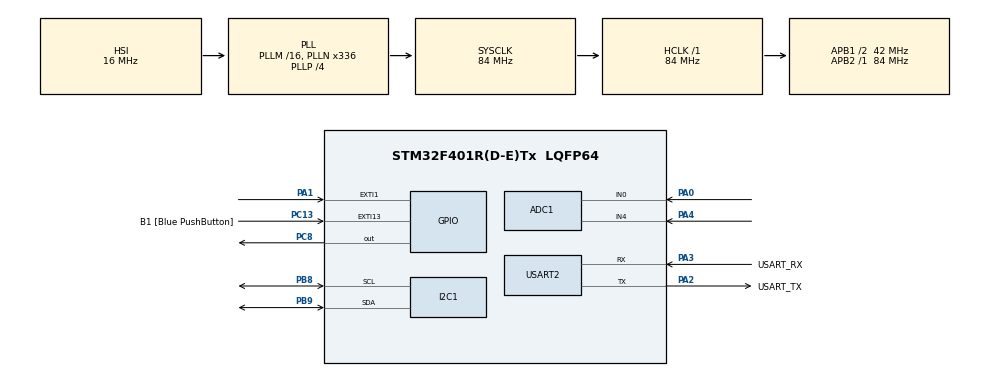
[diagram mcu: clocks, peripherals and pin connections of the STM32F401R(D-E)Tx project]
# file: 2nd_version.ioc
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ADC1.Channel-0\#ChannelRegularConversion=ADC_CHANNEL_0
ADC1.Channel-1\#ChannelRegularConversion=ADC_CHANNEL_4
ADC1.ContinuousConvMode=DISABLE
ADC1.DMAContinuousRequests=ENABLE
ADC1.ExternalTrigConv=ADC_EXTERNALTRIGCONV_T3_TRGO
ADC1.NbrOfConversion=2
ADC1.NbrOfConversionFlag=1
ADC1.Rank-0\#ChannelRegularConversion=1
ADC1.Rank-1\#ChannelRegularConversion=2
ADC1.SamplingTime-0\#ChannelRegularConversion=ADC_SAMPLETIME_480CYCLES
ADC1.SamplingTime-1\#ChannelRegularConversion=ADC_SAMPLETIME_144CYCLES
ADC1.ScanConvMode=ENABLE
ADC1.master=1
Dma.ADC1.0.Direction=DMA_PERIPH_TO_MEMORY
Dma.ADC1.0.FIFOMode=DMA_FIFOMODE_DISABLE
Dma.ADC1.0.Instance=DMA2_Stream0
Dma.ADC1.0.MemDataAlignment=DMA_MDATAALIGN_HALFWORD
Dma.ADC1.0.MemInc=DMA_MINC_ENABLE
Dma.ADC1.0.Mode=DMA_CIRCULAR
Dma.ADC1.0.PeriphDataAlignment=DMA_PDATAALIGN_HALFWORD
Dma.ADC1.0.PeriphInc=DMA_PINC_DISABLE
Dma.ADC1.0.Priority=DMA_PRIORITY_HIGH
Dma.Request0=ADC1
Mcu.Family=STM32F4
Mcu.Name=STM32F401R(D-E)Tx
Mcu.Package=LQFP64
NVIC.DMA2_Stream0_IRQn=true\:0\:0\:false\:false\:true\:false\:true\:true
NVIC.EXTI15_10_IRQn=true\:0\:0\:false\:false\:true\:true\:true\:true
NVIC.EXTI1_IRQn=true\:0\:0\:false\:false\:true\:true\:true\:true
NVIC.PriorityGroup=NVIC_PRIORITYGROUP_4
NVIC.TIM4_IRQn=true\:0\:0\:false\:false\:true\:true\:true\:true
NVIC.USART2_IRQn=true\:0\:0\:false\:false\:true\:true\:true\:true
PA0-WKUP.Signal=ADCx_IN0
PA1.GPIO_PuPd=GPIO_PULLUP
PA1.Signal=GPXTI1
PA13.GPIO_Label=TMS
PA13.Mode=Trace_Asynchronous_SW
PA13.Signal=SYS_JTMS-SWDIO
PA14.GPIO_Label=TCK
PA14.Mode=Trace_Asynchronous_SW
PA14.Signal=SYS_JTCK-SWCLK
PA2.GPIO_Label=USART_TX
PA2.GPIO_Mode=GPIO_MODE_AF_PP
PA2.GPIO_PuPd=GPIO_NOPULL
PA2.GPIO_Speed=GPIO_SPEED_FREQ_LOW
PA2.Mode=Asynchronous
PA2.Signal=USART2_TX
PA3.GPIO_Label=USART_RX
PA3.GPIO_Mode=GPIO_MODE_AF_PP
PA3.GPIO_PuPd=GPIO_NOPULL
PA3.GPIO_Speed=GPIO_SPEED_FREQ_LOW
PA3.Mode=Asynchronous
PA3.Signal=USART2_RX
PA4.Signal=ADCx_IN4
PB3.GPIO_Label=SWO
PB3.Mode=Trace_Asynchronous_SW
PB3.Signal=SYS_JTDO-SWO
PB8.Mode=I2C
PB8.Signal=I2C1_SCL
PB9.Mode=I2C
PB9.Signal=I2C1_SDA
PC13-ANTI_TAMP.GPIO_Label=B1 [Blue PushButton]
PC13-ANTI_TAMP.GPIO_ModeDefaultEXTI=GPIO_MODE_IT_FALLING
PC13-ANTI_TAMP.GPIO_PuPd=GPIO_NOPULL
PC13-ANTI_TAMP.Signal=GPXTI13
PC14-OSC32_IN.Signal=RCC_OSC32_IN
PC15-OSC32_OUT.Signal=RCC_OSC32_OUT
PC8.GPIO_ModeDefaultOutputPP=GPIO_MODE_OUTPUT_OD
PC8.GPIO_PuPd=GPIO_NOPULL
PC8.Signal=GPIO_Output
PH0\ -\ OSC_IN.Mode=HSE-External-Oscillator
PH0\ -\ OSC_IN.Signal=RCC_OSC_IN
PH1\ -\ OSC_OUT.Mode=HSE-External-Oscillator
PH1\ -\ OSC_OUT.Signal=RCC_OSC_OUT
ProjectManager.HeapSize=0x800
ProjectManager.StackSize=0x800
ProjectManager.TargetToolchain=STM32CubeIDE
RCC.48MHZClocksFreq_Value=48000000
RCC.AHBFreq_Value=84000000
RCC.APB1CLKDivider=RCC_HCLK_DIV2
RCC.APB1Freq_Value=42000000
RCC.APB1TimFreq_Value=84000000
RCC.APB2Freq_Value=84000000
RCC.APB2TimFreq_Value=84000000
RCC.CortexFreq_Value=84000000
RCC.HCLKFreq_Value=84000000
RCC.HSE_VALUE=8000000
RCC.HSI_VALUE=16000000
RCC.LSE_VALUE=32768
RCC.PLLN=336
RCC.PLLP=RCC_PLLP_DIV4
RCC.PLLQ=7
RCC.SYSCLKFreq_VALUE=84000000
RCC.SYSCLKSource=RCC_SYSCLKSOURCE_PLLCLK
RCC.VCOOutputFreq_Value=336000000
SH.ADCx_IN0.0=ADC1_IN0,IN0
SH.ADCx_IN4.0=ADC1_IN4,IN4
STMicroelectronics.X-CUBE-AI.10.2.0.ActivationBufferSizeList=3460
STMicroelectronics.X-CUBE-AI.10.2.0.ActivationBuffers=pool0
STMicroelectronics.X-CUBE-AI.10.2.0.ActivationNames=pool0
STMicroelectronics.X-CUBE-AI.10.2.0.ActivationSizes=AI_AE_MODEL_DATA_ACTIVATION_1_SIZE
STMicroelectronics.X-CUBE-AI.10.2.0.HeapSize=0x800
STMicroelectronics.X-CUBE-AI.10.2.0.InternalRamActivationBufferMaxSize=AI_AE_MODEL_DATA_ACTIVATIONS_SIZE
STMicroelectronics.X-CUBE-AI.10.2.0.LatestDirectoryUsed-c8a57d9024149522af5069ce5f239dbd9c43b9ed8e909609a64f126b012826c5=C\:\\Users\\YASHASVI\\OneDrive\\Desktop\\train_autoencoder\\models
STMicroelectronics.X-CUBE-AI.10.2.0.MaximumNumberOfInputLayer=1
STMicroelectronics.X-CUBE-AI.10.2.0.MaximumNumberOfOutputLayer=1
STMicroelectronics.X-CUBE-AI.10.2.0.MaximumSizeOfInputLayer=1
STMicroelectronics.X-CUBE-AI.10.2.0.MaximumSizeOfOutputLayer=1
STMicroelectronics.X-CUBE-AI.10.2.0.ModelActualCompression-c8a57d9024149522af5069ce5f239dbd9c43b9ed8e909609a64f126b012826c5=0.0
STMicroelectronics.X-CUBE-AI.10.2.0.ModelCompression-c8a57d9024149522af5069ce5f239dbd9c43b9ed8e909609a64f126b012826c5=None
STMicroelectronics.X-CUBE-AI.10.2.0.ModelFlashOccupation-c8a57d9024149522af5069ce5f239dbd9c43b9ed8e909609a64f126b012826c5=17893
STMicroelectronics.X-CUBE-AI.10.2.0.ModelHashList=c8a57d9024149522af5069ce5f239dbd9c43b9ed8e909609a64f126b012826c5
STMicroelectronics.X-CUBE-AI.10.2.0.ModelKind-c8a57d9024149522af5069ce5f239dbd9c43b9ed8e909609a64f126b012826c5=TFLITE
STMicroelectronics.X-CUBE-AI.10.2.0.ModelMacc-c8a57d9024149522af5069ce5f239dbd9c43b9ed8e909609a64f126b012826c5=890
STMicroelectronics.X-CUBE-AI.10.2.0.ModelName-c8a57d9024149522af5069ce5f239dbd9c43b9ed8e909609a64f126b012826c5=ae_model
STMicroelectronics.X-CUBE-AI.10.2.0.ModelNameList=ae_model
STMicroelectronics.X-CUBE-AI.10.2.0.ModelRamOccupation-c8a57d9024149522af5069ce5f239dbd9c43b9ed8e909609a64f126b012826c5=3460
STMicroelectronics.X-CUBE-AI.10.2.0.ModelStructureFile-c8a57d9024149522af5069ce5f239dbd9c43b9ed8e909609a64f126b012826c5=C\:\\Users\\YASHASVI\\OneDrive\\Desktop\\train_autoencoder\\models\\ae_model.tflite
STMicroelectronics.X-CUBE-AI.10.2.0.ModelType-c8a57d9024149522af5069ce5f239dbd9c43b9ed8e909609a64f126b012826c5=STM32Cube.AI MCU runtime
STMicroelectronics.X-CUBE-AI.10.2.0.ReadyForCodeGeneration=true
STMicroelectronics.X-CUBE-AI.10.2.0.StackSize=0x800
STMicroelectronics.X-CUBE-AI.10.2.0.WorkingBufferStartAddrList=0xFFFFFFFF
STMicroelectronics.X-CUBE-AI.10.2.0.XAaCUBEAaAICcArtificialOoIntelligenceJjCore=true
STMicroelectronics.X-CUBE-AI.10.2.0.copyWeightToRam-c8a57d9024149522af5069ce5f239dbd9c43b9ed8e909609a64f126b012826c5=false
STMicroelectronics.X-CUBE-AI.10.2.0.customLayerConfigEnabled-c8a57d9024149522af5069ce5f239dbd9c43b9ed8e909609a64f126b012826c5=false
STMicroelectronics.X-CUBE-AI.10.2.0.noOnnxIoTranspose-c8a57d9024149522af5069ce5f239dbd9c43b9ed8e909609a64f126b012826c5=false
STMicroelectronics.X-CUBE-AI.10.2.0.useInputAllocation-c8a57d9024149522af5069ce5f239dbd9c43b9ed8e909609a64f126b012826c5=true
STMicroelectronics.X-CUBE-AI.10.2.0.useOutputAllocation-c8a57d9024149522af5069ce5f239dbd9c43b9ed8e909609a64f126b012826c5=true
TIM2.Prescaler=83
TIM3.Period=249
TIM3.Prescaler=83
TIM3.TIM_MasterOutputTrigger=TIM_TRGO_UPDATE
TIM4.Period=1000
TIM4.Prescaler=72-1
USART2.VirtualMode=VM_ASYNC
VP_CRC_VS_CRC.Mode=CRC_Activate
VP_STMicroelectronics.X-CUBE-AI_VS_ArtificialOoIntelligenceJjXAaCUBEAaAI_10.2.0.Mode=ArtificialOoIntelligenceJjXAaCUBEAaAI
VP_TIM2_VS_ClockSourceINT.Mode=Internal
VP_TIM3_VS_ClockSourceINT.Mode=Internal
VP_TIM4_VS_ClockSourceINT.Mode=Internal
board=NUCLEO-F401RE

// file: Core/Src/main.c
/* USER CODE BEGIN Header */
/**
  ******************************************************************************
  * @file           : main.c
  * @brief          : Main program body
  ******************************************************************************
  */
/* USER CODE END Header */
#include "main.h"
#include "adc.h"
#include "crc.h"
#include "dma.h"
#include "i2c.h"
#include "tim.h"
#include "usart.h"
#include "gpio.h"

/* USER CODE BEGIN Includes */
#include "ADXL345.h"
#include <stdio.h>
#include <math.h>
#include "ds18b20.h"
#include <string.h>
#include "arm_math.h"
#ifdef AI_MODEL_DEPLOYED
#include "ae_model.h"
#include "ai_platform.h"
#include "ae_model_data.h"
#endif

/* USER CODE END Includes */

/* USER CODE BEGIN PD */
#define SAMPLES         2048
#define RATED_RPM       1500
#define PULSES_PER_REV  1
#define MAX_RPM         3000
#define RPM_STOP_TIMEOUT_US 3000000
#define MIN_PULSE_US    (60000000 / (MAX_RPM * PULSES_PER_REV))
#define VIB_WINDOW      128
#define WARMUP_WINDOWS  6
#define ACS_SENSITIVITY 0.185f
#define KNOWN_CURRENT   0.444f
#define FFT_SIZE        VIB_WINDOW
/* ========= MACHINE CONFIGURATION ========= */

/* USER CODE END PD */

/* USER CODE BEGIN PV */
/* CMSIS FFT Buffers */
arm_rfft_fast_instance_f32 fft_handler;
float fft_input[FFT_SIZE];
float fft_output[FFT_SIZE];
/* ADC / Voltage / Current */
uint16_t adcBuffer[SAMPLES];
float calibrationFactor = 1.0f;
volatile uint8_t streamEnable = 0;
volatile uint8_t adcHalfReady = 0;
volatile uint8_t adcFullReady = 0;
float realVoltage = 0;
float current = 0;
float baseline_A = 0.0f;
float scaleFactor = 1.0f;
uint16_t dbg_max = 0, dbg_min = 0, dbg_peak = 0;
volatile uint8_t uartPrintReady = 0;
typedef enum {
    MODE_STREAM = 0,
    MODE_AI,
    MODE_CALIBRATE
} SystemMode_t;

volatile SystemMode_t currentMode = MODE_STREAM;
uint8_t rxByte;
/* Accelerometer */
float ax, ay, az;
uint8_t current_range = 0x01;

/* Temperature */
ds18b20_t ds18;
float temperature = 0.0f;

/* RPM */
volatile float rpm = 0.0f;
volatile uint32_t lastPulseUs = 0;

/* Vibration buffers */
float axBuffer[VIB_WINDOW];
float ayBuffer[VIB_WINDOW];
float azBuffer[VIB_WINDOW];
uint8_t magIndex = 0;
uint8_t magBufferReady = 0;
float prevTemp = 0.0f;
uint8_t prevTempValid = 0;
uint8_t warmupCount = 0;

/* Feature struct */

	typedef struct {

	    /* Time domain */
	    float vib_rms;
	    float vib_peak;
	    float vib_crest;
	    float vib_mean;
	    float vib_variance;
	    float vib_kurtosis;

	    /* Frequency domain */
	    float dominant_freq;
	    float harmonic_score;
	    float peak_count;

	    /* Sensors */
	    float temperature;
	    float temp_rise;
	    float voltage;
	    float current;
	    float rpm;

	    /* Fusion */
	    float vib_power_corr;

	} FeaturePacket_t;

FeaturePacket_t features = {0};

/* USER CODE END PV */

void SystemClock_Config(void);
/* USER CODE BEGIN PFP */
void runCalibration(void);
void computeFFT(float *input, int N)
{
    for (int i = 0; i < N; i++)
        fft_input[i] = input[i];
    arm_rfft_fast_f32(&fft_handler, fft_input, fft_output, 0);
}
void sendToESP32(FeaturePacket_t *f,
                 float mse, float health, float confidence,
                 float anomaly_score,
                 float trend, float RUL,
                 int fault, int bearing, int thermal, int electrical, int mech);
void calibrateVoltage(float knownVoltage);
float readCurrentRMS(void);
void extractVibrationFeatures(float *xb, float *yb, float *zb, int N, FeaturePacket_t *f);
void sendFeaturePacket(FeaturePacket_t *f);
#ifdef AI_MODEL_DEPLOYED
void runInference(FeaturePacket_t *f);
#endif
/* USER CODE END PFP */

/* USER CODE BEGIN 0 */

/* DMA callbacks */
void HAL_ADC_ConvHalfCpltCallback(ADC_HandleTypeDef* hadc)
{
    if(hadc->Instance == ADC1) adcHalfReady = 1;
}
void HAL_ADC_ConvCpltCallback(ADC_HandleTypeDef* hadc)
{
    if(hadc->Instance == ADC1) adcFullReady = 1;
}

/* Process ADC samples — voltage (even index) + current (odd index) */
void processSamples(uint16_t *buffer, int length)
{
    /* --- Voltage --- */
    float mean = 0; float sum = 0; int samples = 0;
    for(int i = 0; i < length; i += 2) {
        if(buffer[i] < 100 || buffer[i] > 4000) continue;
        float v = (buffer[i] * 3.3f) / 4095.0f;
        mean += v; samples++;
    }
    mean /= samples;
    for(int i = 0; i < length; i += 2) {
        float v = (buffer[i] * 3.3f) / 4095.0f;
        float c = v - mean; sum += c * c;
    }
    realVoltage = sqrtf(sum / samples) * calibrationFactor;
    dbg_max = 0; dbg_min = 4095;
    for(int i = 0; i < length; i += 2) {
        if(buffer[i] > dbg_max) dbg_max = buffer[i];
        if(buffer[i] < dbg_min) dbg_min = buffer[i];
    }
    dbg_peak = (dbg_max - dbg_min) / 2;
    uartPrintReady = 1;

    /* --- Current --- */
    float cMean = 0; float cSum = 0; int cSamples = 0;
    for(int i = 1; i < length; i += 2) {
        float v = buffer[i] * 0.000805f; cMean += v; cSamples++;
    }
    cMean /= cSamples;
    for(int i = 1; i < length; i += 2) {
        float v = buffer[i] * 0.000805f;
        float c = v - cMean; cSum += c * c;
    }
    float rawCurrent = sqrtf(cSum / cSamples) / ACS_SENSITIVITY;
    current = (rawCurrent - baseline_A) * scaleFactor;
}

void calibrateVoltage(float knownVoltage)
{
    float sum = 0, mean = 0; int samples = 0;
    for(int i = 0; i < SAMPLES; i += 2) {
        float v = (adcBuffer[i] * 3.3f) / 4095.0f;
        mean += v; samples++;
    }
    mean /= samples;
    for(int i = 0; i < SAMPLES; i += 2) {
        float v = (adcBuffer[i] * 3.3f) / 4095.0f;
        float c = v - mean; sum += c * c;
    }
    calibrationFactor = knownVoltage / sqrtf(sum / samples);
}

float readCurrentRMS(void)
{
    float mean = 0, sum = 0; int samples = 0;
    for(int i = 1; i < SAMPLES; i += 2) {
        float v = (adcBuffer[i] * 3.3f) / 4095.0f;
        mean += v; samples++;
    }
    mean /= samples;
    for(int i = 1; i < SAMPLES; i += 2) {
        float v = (adcBuffer[i] * 3.3f) / 4095.0f;
        float c = v - mean; sum += c * c;
    }
    return sqrtf(sum / samples) / ACS_SENSITIVITY;
}

int _write(int file, char *ptr, int len)
{
    HAL_UART_Transmit(&huart2, (uint8_t*)ptr, len, 1000);
    return len;
}

void OW_TimerCallback(TIM_HandleTypeDef *htim)
{
    if(htim->Instance == TIM4) ow_callback(&ds18.ow);
}

/* Vibration feature extraction */
void extractVibrationFeatures(float *xb, float *yb, float *zb, int N, FeaturePacket_t *f)
{
	float magArr[VIB_WINDOW];
	float magRaw[VIB_WINDOW];
	float magMean = 0.0f;
	for(int i = 0; i < N; i++) {
	    magArr[i] = sqrtf(xb[i]*xb[i] + yb[i]*yb[i] + zb[i]*zb[i]);
	    magRaw[i] = magArr[i];   // save raw before any modification
	    magMean += magArr[i];
	}
    magMean /= N;
    f->vib_mean = magMean;

    float sumSq = 0.0f;
    for(int i = 0; i < N; i++) sumSq += magArr[i] * magArr[i];
    f->vib_rms = sqrtf(sumSq / N);

    float peak = 0.0f;
    for(int i = 0; i < N; i++) if(magArr[i] > peak) peak = magArr[i];
    f->vib_peak = peak;

    f->vib_crest = (f->vib_rms > 0.0f) ? (f->vib_peak / f->vib_rms) : 0.0f;

    float variance = 0.0f;
    for(int i = 0; i < N; i++) { float d = magArr[i]-magMean; variance += d*d; }
    f->vib_variance = variance / (N - 1);

    /* Kurtosis — gravity removed */
    float xMean=0, yMean=0, zMean=0;
    for(int i=0;i<N;i++){xMean+=xb[i];yMean+=yb[i];zMean+=zb[i];}
    xMean/=N; yMean/=N; zMean/=N;

    float acMag[VIB_WINDOW]; float acMean=0.0f;
    for(int i=0;i<N;i++){
        float dx=xb[i]-xMean, dy=yb[i]-yMean, dz=zb[i]-zMean;
        acMag[i]=sqrtf(dx*dx+dy*dy+dz*dz); acMean+=acMag[i];
    }
    acMean/=N;

    float acVar=0.0f;
    for(int i=0;i<N;i++){float d=acMag[i]-acMean; acVar+=d*d;}
    acVar/=(N-1);

    float sigma4=acVar*acVar; float kurt=0.0f;
    if(sigma4>1e-10f){
        for(int i=0;i<N;i++){float d=acMag[i]-acMean; kurt+=d*d*d*d;}
        kurt/=(N*sigma4);
    }
    f->vib_kurtosis = kurt;
    /* ===== FFT ===== */
    /* Remove DC component */
    for(int i=0;i<N;i++)
    {
        magArr[i] -= f->vib_mean;
    }
    /* Hanning window */
    for(int i=0;i<N;i++)
    {
        float w = 0.5f * (1.0f - cosf(2 * 3.14159f * i / (N-1)));
        magArr[i] *= w;
    }
    computeFFT(magArr, N);

    /* ===== Dominant Frequency ===== */
    float maxMag = 0;
    int maxIndex = 0;
    float noise_floor = f->vib_rms * 0.1f;
    for(int i = 1; i < N/2; i++)
    {
        float real = fft_output[2*i];
        float imag = fft_output[2*i + 1];
        float mag = sqrtf(real*real + imag*imag);

        if(mag > maxMag && mag > noise_floor)
        {
            maxMag = mag;
            maxIndex = i;
        }
    }

    float Fs = 250.0f;
    f->dominant_freq = (maxIndex * Fs) / N;

    /* ===== Peak Count (IMPROVED) ===== */
    int peak_count = 0;

    /* Adaptive threshold (more stable than variance-based) */
    float threshold = f->vib_rms * 1.2f;
    for(int i = 1; i < N-1; i++)
    {
        if(magRaw[i] > magRaw[i-1] &&
           magRaw[i] > magRaw[i+1] &&
           magRaw[i] > threshold)
        {
            peak_count++;
        }
    }

    f->peak_count = peak_count;

    /* ===== Harmonic Score (SAFE & STABLE VERSION) ===== */
    float baseFreq = f->dominant_freq;
    float harmonicEnergy = 0.0f;
    float totalEnergy = 0.0f;

    if(baseFreq < 1.0f)
    {
        f->harmonic_score = 0.0f;
    }
    else
    {
    	float tol = baseFreq * 0.05f;
        for(int i = 1; i < N/2; i++)
        {
            float freq = (i * Fs) / N;

            float real = fft_output[2*i];
            float imag = fft_output[2*i + 1];
            float mag = sqrtf(real*real + imag*imag);

            totalEnergy += mag;

            float ratio = freq / baseFreq;
            int harmonic = (int)(ratio + 0.5f);
            if(fabsf(freq - harmonic * baseFreq) < tol)
            {
                harmonicEnergy += mag;
            }
        }

        if(totalEnergy > 0.0001f)
            f->harmonic_score = harmonicEnergy / totalEnergy;
        else
            f->harmonic_score = 0.0f;
    }
    /* ===== vib_power_corr (MUST BE OUTSIDE) ===== */

    float energy = 0.0f;

    for(int i = 0; i < N; i++)
    {
        energy += magRaw[i] * magRaw[i];
    }

    energy = energy / N;

    f->vib_power_corr = energy;
}

/* ============================================================
   sendFeaturePacket

   BEFORE deploy  (#ifndef AI_MODEL_DEPLOYED):
     → Pure CSV, 10 values, no prefix, no debug
     → Used by Python collect.py

   AFTER deploy   (#ifdef AI_MODEL_DEPLOYED):
     → Run autoencoder inference
     → Print "Machine: HEALTHY" or "Machine: FAULT DETECTED"
   ============================================================ */
void sendFeaturePacket(FeaturePacket_t *f)
{
    if(currentMode == MODE_STREAM)
    {
        printf("DATA,%.4f,%.4f,%.4f,%.4f,%.4f,%.2f,%.4f,%.2f,%.4f,%.2f,%.2f,%.2f,%.2f,%.2f\r\n",
            f->vib_rms,
            f->vib_peak,
            f->vib_crest,
            f->vib_variance,
            f->vib_kurtosis,
            f->temperature,
            f->temp_rise,
            f->voltage,
            f->current,
            f->rpm,
            f->dominant_freq,
            f->harmonic_score,
            f->peak_count,
            f->vib_power_corr
        );
    }
#ifdef AI_MODEL_DEPLOYED
    else if(currentMode == MODE_AI)
    {
        runInference(f);
    }
#endif
}

#ifdef AI_MODEL_DEPLOYED
/* ── Fill these after running train.py ── */
static const float SCALER_MEAN[14] = {
1.065390f, 1.301660f, 1.167326f, 0.057079f, 2.156149f,
48.700072f, 0.071920f, 229.730196f, 0.453986f, 1433.094716f,
79.831001f, 0.231053f, 3.383901f, 1.173829f
};

static const float SCALER_STD[14] = {
0.197051f, 2.291226f, 0.302844f, 1.519685f, 3.360373f,
8.431025f, 0.069864f, 1.812656f, 0.022627f, 23.341823f,
22.485306f, 0.087191f, 6.972243f, 1.594115f
};

static const float THRESHOLD = 3.70875f;

static ai_handle ae_model = AI_HANDLE_NULL;

AI_ALIGNED(4) ai_u8 activations[AI_AE_MODEL_DATA_ACTIVATIONS_SIZE];
static ai_buffer *ai_input;
static ai_buffer *ai_output;

static int fault_counter=0;
static int healthy_counter=0;

#define FAULT_CONFIRM 3
#define HEALTHY_CONFIRM 4
void runInference(FeaturePacket_t *f)
{
    static float RUL_filtered = 0.0f;

    float input[14] = {
        f->vib_rms,
        f->vib_peak,
        f->vib_crest,
        f->vib_variance,
        f->vib_kurtosis,
        f->temperature,
        f->temp_rise,
        f->voltage,
        f->current,
        f->rpm,
        f->dominant_freq,
        f->harmonic_score,
        f->peak_count,
        f->vib_power_corr
    };

    AI_ALIGNED(4) ai_float in_data[AI_AE_MODEL_IN_1_SIZE];
    AI_ALIGNED(4) ai_float out_data[AI_AE_MODEL_OUT_1_SIZE];

        /* -------- NORMALIZATION -------- */
    for(int i=0;i<14;i++)
    {
        float std = SCALER_STD[i];
        if(std < 1e-6f) std = 1.0f;

        in_data[i] = (input[i] - SCALER_MEAN[i]) / std;
    }

    /* -------- RUN MODEL -------- */

    ai_input = ai_ae_model_inputs_get(ae_model, NULL);
    ai_output = ai_ae_model_outputs_get(ae_model, NULL);

    ai_input[0].data = AI_HANDLE_PTR(in_data);
    ai_output[0].data = AI_HANDLE_PTR(out_data);

    ai_ae_model_run(ae_model, ai_input, ai_output);

    /* -------- MSE -------- */
    float mse = 0.0f;

    for(int i = 0; i < 14; i++)
    {
        float diff = in_data[i] - out_data[i];
        mse += diff * diff;
    }

    mse = mse / 14.0f;

    /* safety clamp (prevents rare instability) */
    if(mse < 0.0f) mse = 0.0f;
    if(mse > 100.0f) mse = 100.0f;   // normalized space clamp (IMPORTANT FIX)

    /* -------- NORMALIZED ANOMALY SCORE -------- */
    float anomaly_score = mse / THRESHOLD;   // >1 = abnormal region

    /* -------- HEALTH (0–100, smooth + bounded) -------- */
    float health;

    if(anomaly_score <= 1.0f)
    {
        health = 100.0f * powf((1.0f - anomaly_score), 0.5f);
    }
    else
    {
        health = 100.0f * expf(1.0f - anomaly_score);
    }

    /* clamp */
    if(health < 0.0f) health = 0.0f;
    if(health > 100.0f) health = 100.0f;

    /* -------- CONFIDENCE (REAL PROBABILITY-LIKE METRIC) -------- */
    float confidence = 1.0f / (1.0f + anomaly_score);

    /* -------- ANOMALY LOGIC (ROBUST HYSTERESIS) -------- */
    uint8_t anomaly = (anomaly_score > 1.0f);

    if(anomaly)
    {
        fault_counter++;
        healthy_counter = 0;
    }
    else
    {
        healthy_counter++;
        fault_counter = 0;
    }

    /* -------- PRINT STATUS -------- */
    if(fault_counter >= FAULT_CONFIRM)
    {
    	//printf("MSE=%.4f | Score=%.3f | Health=%.1f | RUL=%.1f\r\n",
    	//       mse, anomaly_score, health, RUL_filtered);
        HAL_GPIO_WritePin(GPIOA, GPIO_PIN_5, GPIO_PIN_SET);
    }
    else if(healthy_counter >= HEALTHY_CONFIRM)
    {
    	//printf("MSE=%.4f | Score=%.3f | Health=%.1f | RUL=%.1f\r\n",
    	//       mse, anomaly_score, health, RUL_filtered);
        HAL_GPIO_WritePin(GPIOA, GPIO_PIN_5, GPIO_PIN_RESET);
    }

    /* -------- TREND (SINGLE SOURCE OF TRUTH) -------- */
    static float mse_prev = -1.0f;
    static float trend_filtered = 0.0f;
    static float mse_filtered = 0.0f;

    float trend = 0.0f;

    /* smooth MSE first (VERY IMPORTANT FIX) */
    mse_filtered = 0.90f * mse_filtered + 0.10f * mse;

    /* compute trend on filtered signal */
    if(mse_prev >= 0.0f)
    {
        trend = mse_filtered - mse_prev;
    }
    mse_prev = mse_filtered;

    /* smooth absolute trend */
    trend_filtered = 0.93f * trend_filtered + 0.07f * fabsf(trend);

    /* safety floor */
    float degradation_rate = trend_filtered + 1e-3f;

    /* -------- HEALTH (already computed earlier) -------- */
    float health_norm = health * 0.01f;   // faster + cheaper than /100

    /* -------- RUL (STABLE, NON-EXPLOSIVE MODEL) -------- */

    /*
       Key idea:
       - No log()
       - No exponential inversion
       - bounded inverse degradation model
    */

    float RUL = 0.0f;

    /* core stability equation */
    RUL = 1500.0f * health_norm / (1.0f + 6.0f * degradation_rate);

    /* mild protection for fresh startup */
    if(trend_filtered < 1e-5f)
    {
        RUL = 5000.0f;
    }

    /* clamp */
    if(RUL > 5000.0f) RUL = 5000.0f;
    if(RUL < 0.0f) RUL = 0.0f;

    RUL_filtered = 0.9f * RUL_filtered + 0.1f * RUL;

    /* -------- DTC (UNCHANGED BUT SAFE) -------- */
    /* ===== FLAGS ===== */
    int fault = (fault_counter >= FAULT_CONFIRM);

    int bearing = (f->vib_kurtosis > 4.5f && health < 70.0f);
    int thermal = (f->temp_rise > 3.0f);
    int electrical = (f->current > 1.5f && f->vib_rms < 0.8f);
    int mech = (f->harmonic_score > 0.5f && f->peak_count > 5);

    /* -------- SEND JSON (FINAL FIX) -------- */
    sendToESP32(
        f,
        mse,
        health,
        confidence,
        anomaly_score,
        trend_filtered,
        RUL_filtered,
        fault,
        bearing,
        thermal,
        electrical,
        mech
    );
}
#endif
extern UART_HandleTypeDef huart2;

/* USER CODE END 0 */

int main(void)
{

  /* MCU Configuration--------------------------------------------------------*/

  /* Reset of all peripherals, Initializes the Flash interface and the Systick. */
  HAL_Init();

  /* Configure the system clock */
  SystemClock_Config();

  /* Initialize all configured peripherals */
  MX_GPIO_Init();
  MX_DMA_Init();
  MX_USART2_UART_Init();
  MX_TIM4_Init();
  MX_ADC1_Init();
  MX_TIM3_Init();
  MX_TIM2_Init();
  MX_I2C1_Init();
  MX_CRC_Init();
  /* USER CODE BEGIN 2 */
  arm_rfft_fast_init_f32(&fft_handler, FFT_SIZE);

  /* ADXL345 */
   printf("ADXL345 Test Starting...\r\n");
   if(ADXL345_Init(&hi2c1) != ADXL_OK)
   {
       printf("ADXL Unit Failed!\r\n");
       Error_Handler();
   }
   else
   {
       printf("ADXL Unit Success!\r\n");
   }
   uint8_t rate = 0x0D;   // 800 Hz output data rate
   HAL_I2C_Mem_Write(&hi2c1, ADXL345_ADDR, 0x2C, 1, &rate, 1, 100);
  /* DS18B20 */
  ow_init_t ow_init_struct;
  ow_init_struct.tim_handle   = &htim4;
  ow_init_struct.gpio         = GPIOC;
  ow_init_struct.pin          = GPIO_PIN_8;
  ow_init_struct.tim_cb       = OW_TimerCallback;
  ow_init_struct.done_cb      = NULL;
  ow_init_struct.rom_id_filter= DS18B20_ID;
  ds18b20_init(&ds18, &ow_init_struct);
  HAL_TIM_Base_Start_IT(&htim4);
  ds18b20_update_rom_id(&ds18);
  while(ds18b20_is_busy(&ds18));
  HAL_Delay(2000);

  /* ADC DMA */
  HAL_TIM_Base_Start(&htim3);
  HAL_ADC_Start_DMA(&hadc1, (uint32_t*)adcBuffer, SAMPLES);
  HAL_Delay(1000);

  /* TIM2 microsecond counter */
  HAL_TIM_Base_Start(&htim2);

  /* ACS712 Calibration */
    printf("\n=== ACS712 Auto Calibration ===\r\n");

    printf("Remove load... Measuring baseline...\r\n");
    HAL_Delay(3000);
    baseline_A = readCurrentRMS();
    printf("Baseline: %.4f A\r\n", baseline_A);

    printf("Apply 444 mA load now...\r\n");
    HAL_Delay(8000);
    float loaded_A = readCurrentRMS();
    printf("Loaded: %.4f A\r\n", loaded_A);

    float measuredDelta = loaded_A - baseline_A;
    if(measuredDelta < 0.001f) measuredDelta = 0.001f;
    scaleFactor = KNOWN_CURRENT / measuredDelta;
    printf("Scale Factor: %.3f\r\n", scaleFactor);

    /* Voltage calibration */
    calibrateVoltage(230.0f);   // prints "Calibration Factor: X.XXX" inside
    HAL_Delay(1000);
  /* UART RX interrupt */
  HAL_UART_Receive_IT(&huart2, &rxByte, 1);
#ifdef AI_MODEL_DEPLOYED

ai_network_params ai_params =
{
AI_AE_MODEL_DATA_WEIGHTS(ai_ae_model_data_weights_get()),
AI_AE_MODEL_DATA_ACTIVATIONS(activations)
};

ai_error err;

err = ai_ae_model_create(&ae_model, AI_AE_MODEL_DATA_CONFIG);

if (err.type != AI_ERROR_NONE)
{
    printf("MODEL CREATE FAILED: type=%d code=%d\r\n", err.type, err.code);
    while(1);
}

if(!ai_ae_model_init(ae_model,&ai_params))
{
    printf("AI INIT FAILED\r\n");
}

#endif
  printf("STM32_READY\r\n");
  streamEnable = 1;
    // force clean state
  /* USER CODE END 2 */

  /* Infinite loop */
  /* USER CODE BEGIN WHILE */
  while (1)
  {
	  if(currentMode == MODE_CALIBRATE)
	  {
	      runCalibration();
	  }

	       uint32_t now = HAL_GetTick();
	      // Then at the top of while(1) in main:

	       /* ── Vibration sampling every 2ms ── */
	       static uint32_t lastVibTime = 0;

	       if(now - lastVibTime >= 2)
	       {
	           lastVibTime = now;

	           ADXL345_ReadXYZ(&ax, &ay, &az);

	           /* Sensor validation */
	           if(isnan(ax) || isnan(ay) || isnan(az))
	               continue;

	           /* Store valid data */
	           axBuffer[magIndex] = ax;
	           ayBuffer[magIndex] = ay;
	           azBuffer[magIndex] = az;

	           magIndex++;

	           if(magIndex >= VIB_WINDOW)
	           {
	               magIndex = 0;
	               magBufferReady = 1;
	           }

	           /* Adaptive range every 1s */
	           static uint32_t lastRangeTime = 0;
	           if(now - lastRangeTime >= 1000)
	           {
	               lastRangeTime = now;

	               float rms_value = sqrtf(ax*ax + ay*ay + az*az);

	               if(rms_value > 3.2f && current_range < 0x02)
	               {
	                   current_range++;
	                   ADXL_SetRange(current_range);
	               }
	               else if(rms_value < 0.8f && current_range > 0x00)
	               {
	                   current_range--;
	                   ADXL_SetRange(current_range);
	               }
	           }
	       }
	       /* ── RPM timeout ── */
	       uint32_t nowUs = __HAL_TIM_GET_COUNTER(&htim2);

	       if(lastPulseUs != 0)
	       {
	           uint32_t elapsedUs;

	           if(nowUs >= lastPulseUs)
	               elapsedUs = nowUs - lastPulseUs;
	           else
	               elapsedUs = (0xFFFFFFFF - lastPulseUs) + nowUs + 1;

	           /* If no pulse for 1 sec → stopped */
	           if(elapsedUs > RPM_STOP_TIMEOUT_US)
	           {
	        	   rpm *= 0.97f;  // gradual decay instead of sudden zero

	               if(rpm < 10.0f)
	               {
	                   rpm = 0.0f;
	                   lastPulseUs = 0;
	               }
	           }
	       }

	       /* ── Temperature every 1s ── */
	       static uint32_t lastTempTime = 0;
	       if(now - lastTempTime >= 1000)
	       {
	           lastTempTime = now;
	           ds18b20_cnv(&ds18);
	           while(ds18b20_is_busy(&ds18));
	           while(!ds18b20_is_cnv_done(&ds18));
	           ds18b20_req_read(&ds18, 0);
	           while(ds18b20_is_busy(&ds18));
	           int16_t temp_raw = ds18b20_read_c(&ds18);
	           if(temp_raw != DS18B20_ERROR)
	               temperature = temp_raw / 100.0f;
	       }

	       /* ── ADC processing ── */
	       if(adcHalfReady) { adcHalfReady=0; processSamples(&adcBuffer[0], SAMPLES/2); }
	       if(adcFullReady) { adcFullReady=0; processSamples(&adcBuffer[SAMPLES/2], SAMPLES/2); }

	       /* ── Feature extraction every 640ms ── */
	  if(magBufferReady)
	  	  {
	  	      magBufferReady = 0;

	  	      if(warmupCount < WARMUP_WINDOWS)
	  	      {
	  	          warmupCount++;
	  	      }
	  	      else
	  	      {
	  	    	float localX[VIB_WINDOW], localY[VIB_WINDOW], localZ[VIB_WINDOW];

	  	    	__disable_irq();
	  	    	memcpy(localX, axBuffer, sizeof(axBuffer));
	  	    	memcpy(localY, ayBuffer, sizeof(ayBuffer));
	  	    	memcpy(localZ, azBuffer, sizeof(azBuffer));
	  	    	__enable_irq();

	  	    	/* Extract vibration features */
	  	    	extractVibrationFeatures(localX, localY, localZ, VIB_WINDOW, &features);

	  	    	/* Temperature already updated outside */
	  	    	features.temperature = temperature;

	  	    	/* Temperature rise */
	  	    	if(prevTempValid)
	  	    	{
	  	    	    features.temp_rise = temperature - prevTemp;
	  	    	}
	  	    	else
	  	    	{
	  	    	    features.temp_rise = 0;
	  	    	    prevTempValid = 1;
	  	    	}

	  	    	prevTemp = temperature;

	  	    	/* Snapshot values (IMPORTANT) */
	  	    	float rpm_snapshot = rpm;

	  	    	/* Assign electrical + speed */
	  	    	features.voltage = realVoltage;
	  	    	features.current = current;
	  	    	features.rpm     = rpm_snapshot;

	  	    	/* Send data */
	  	    	sendFeaturePacket(&features);
	  	      }
	  	  }
    /* USER CODE END WHILE */

  }
}

void SystemClock_Config(void)
{
  RCC_OscInitTypeDef RCC_OscInitStruct = {0};
  RCC_ClkInitTypeDef RCC_ClkInitStruct = {0};

  /** Configure the main internal regulator output voltage
  */
  __HAL_RCC_PWR_CLK_ENABLE();
  __HAL_PWR_VOLTAGESCALING_CONFIG(PWR_REGULATOR_VOLTAGE_SCALE2);

  /** Initializes the RCC Oscillators according to the specified parameters
  * in the RCC_OscInitTypeDef structure.
  */
  RCC_OscInitStruct.OscillatorType = RCC_OSCILLATORTYPE_HSI;
  RCC_OscInitStruct.HSIState = RCC_HSI_ON;
  RCC_OscInitStruct.HSICalibrationValue = RCC_HSICALIBRATION_DEFAULT;
  RCC_OscInitStruct.PLL.PLLState = RCC_PLL_ON;
  RCC_OscInitStruct.PLL.PLLSource = RCC_PLLSOURCE_HSI;
  RCC_OscInitStruct.PLL.PLLM = 16;
  RCC_OscInitStruct.PLL.PLLN = 336;
  RCC_OscInitStruct.PLL.PLLP = RCC_PLLP_DIV4;
  RCC_OscInitStruct.PLL.PLLQ = 7;
  if (HAL_RCC_OscConfig(&RCC_OscInitStruct) != HAL_OK)
  {
    Error_Handler();
  }

  /** Initializes the CPU, AHB and APB buses clocks
  */
  RCC_ClkInitStruct.ClockType = RCC_CLOCKTYPE_HCLK|RCC_CLOCKTYPE_SYSCLK
                              |RCC_CLOCKTYPE_PCLK1|RCC_CLOCKTYPE_PCLK2;
  RCC_ClkInitStruct.SYSCLKSource = RCC_SYSCLKSOURCE_PLLCLK;
  RCC_ClkInitStruct.AHBCLKDivider = RCC_SYSCLK_DIV1;
  RCC_ClkInitStruct.APB1CLKDivider = RCC_HCLK_DIV2;
  RCC_ClkInitStruct.APB2CLKDivider = RCC_HCLK_DIV1;

  if (HAL_RCC_ClockConfig(&RCC_ClkInitStruct, FLASH_LATENCY_2) != HAL_OK)
  {
    Error_Handler();
  }
}

/* USER CODE BEGIN 4 */
void HAL_UART_RxCpltCallback(UART_HandleTypeDef *huart)
{
    if(huart->Instance == USART2)
    {
        switch(rxByte)
        {
            case 's':
                currentMode = MODE_STREAM;
                printf("MODE: STREAM\r\n");
                break;

            case 'a':
                currentMode = MODE_AI;
                printf("MODE: AI\r\n");
                break;

            case 'c':
                currentMode = MODE_CALIBRATE;
                printf("MODE: CALIBRATION\r\n");
                break;
        }

        HAL_UART_Receive_IT(&huart2, &rxByte, 1);
    }
}
void HAL_TIM_PeriodElapsedCallback(TIM_HandleTypeDef *htim)
{
    if(htim->Instance == TIM4)
    {
        OW_TimerCallback(htim);
    }
}

void runCalibration(void)
{
    printf("\n=== CALIBRATION START ===\r\n");

    printf("\n=== ACS712 Auto Calibration ===\r\n");

      printf("Remove load... Measuring baseline...\r\n");
      HAL_Delay(3000);
      baseline_A = readCurrentRMS();
      printf("Baseline: %.4f A\r\n", baseline_A);

      printf("Apply 444 mA load now...\r\n");
      HAL_Delay(8000);
      float loaded_A = readCurrentRMS();
      printf("Loaded: %.4f A\r\n", loaded_A);

      float measuredDelta = loaded_A - baseline_A;
      if(measuredDelta < 0.001f) measuredDelta = 0.001f;
      scaleFactor = KNOWN_CURRENT / measuredDelta;
      printf("Scale Factor: %.3f\r\n", scaleFactor);

      /* Voltage calibration */
      calibrateVoltage(230.0f);
    printf("=== DONE ===\r\n");

    currentMode = MODE_STREAM;
}

void HAL_GPIO_EXTI_Callback(uint16_t GPIO_Pin)
{
    if(GPIO_Pin == GPIO_PIN_1)   // ⚠️ change if using different pin
    {
        uint32_t nowUs = __HAL_TIM_GET_COUNTER(&htim2);

        if(lastPulseUs != 0)
        {
            uint32_t diffUs;

            if(nowUs >= lastPulseUs)
                diffUs = nowUs - lastPulseUs;
            else
                diffUs = (0xFFFFFFFF - lastPulseUs) + nowUs + 1;

            /* Ignore noise pulses */
            if(diffUs >= MIN_PULSE_US && diffUs < 1000000)
            {
                float newRpm = 60000000.0f / (float)(diffUs * PULSES_PER_REV);

                /* Limit unrealistic RPM */
                if(newRpm <= RATED_RPM)
                {
                	float alpha = 0.2f;
                	        rpm = (1 - alpha) * rpm + alpha * newRpm;
                }

                lastPulseUs = nowUs;
            }
        }
        else
        {
            lastPulseUs = nowUs;
        }
    }
}
  // ✅ MUCH smaller

    void sendToESP32(FeaturePacket_t *f,
                     float mse, float health, float confidence,
                     float anomaly_score,
                     float trend, float RUL,
                     int fault, int bearing, int thermal, int electrical, int mech)
    {
        char buffer[900];   // increased size (IMPORTANT)

        sprintf(buffer,
            "JSON,\r\n"
            "{\r\n"

            "  \"mse\": %.4f,\r\n"
            "  \"health\": %.2f,\r\n"
            "  \"confidence\": %.2f,\r\n"
            "  \"score\": %.3f,\r\n"
            "  \"trend\": %.6f,\r\n"
            "  \"rul\": %.2f,\r\n"

            "  \"fault\": %d,\r\n"
            "  \"bearing\": %d,\r\n"
            "  \"thermal\": %d,\r\n"
            "  \"electrical\": %d,\r\n"
            "  \"mechanical\": %d,\r\n"

            "  \"vibration\": %.4f,\r\n"
            "  \"temperature\": %.2f,\r\n"
            "  \"temp_rise\": %.2f,\r\n"
            "  \"current\": %.4f,\r\n"
            "  \"rpm\": %.1f,\r\n"

            "  \"f0_vib_rms\": %.4f,\r\n"
            "  \"f1_vib_peak\": %.4f,\r\n"
            "  \"f2_vib_crest\": %.4f,\r\n"
            "  \"f3_vib_variance\": %.4f,\r\n"
            "  \"f4_vib_kurtosis\": %.4f,\r\n"
            "  \"f5_temp\": %.2f,\r\n"
            "  \"f6_temp_rise\": %.2f,\r\n"
            "  \"f7_voltage\": %.2f,\r\n"
            "  \"f8_current\": %.4f,\r\n"
            "  \"f9_rpm\": %.1f,\r\n"
            "  \"f10_dom_freq\": %.2f,\r\n"
            "  \"f11_harmonic\": %.4f,\r\n"
            "  \"f12_peak_count\": %d,\r\n"
            "  \"f13_power_corr\": %.4f\r\n"

            "}\r\n",

            /* AI */
            mse, health, confidence, anomaly_score, trend, RUL,

            /* FLAGS */
            fault, bearing, thermal, electrical, mech,

            /* RAW */
            f->vib_rms,
            f->temperature,
            f->temp_rise,
            f->current,
            f->rpm,

            /* FEATURES */
            f->vib_rms,
            f->vib_peak,
            f->vib_crest,
            f->vib_variance,
            f->vib_kurtosis,
            f->temperature,
            f->temp_rise,
            f->voltage,
            f->current,
            f->rpm,
            f->dominant_freq,
            f->harmonic_score,
			(int) f->peak_count,
            f->vib_power_corr
        );

        HAL_UART_Transmit(&huart2, (uint8_t*)buffer, strlen(buffer), 100);
    }

/* USER CODE END 4 */

void Error_Handler(void)
{
  __disable_irq();
  while (1)
  {
  }
}
